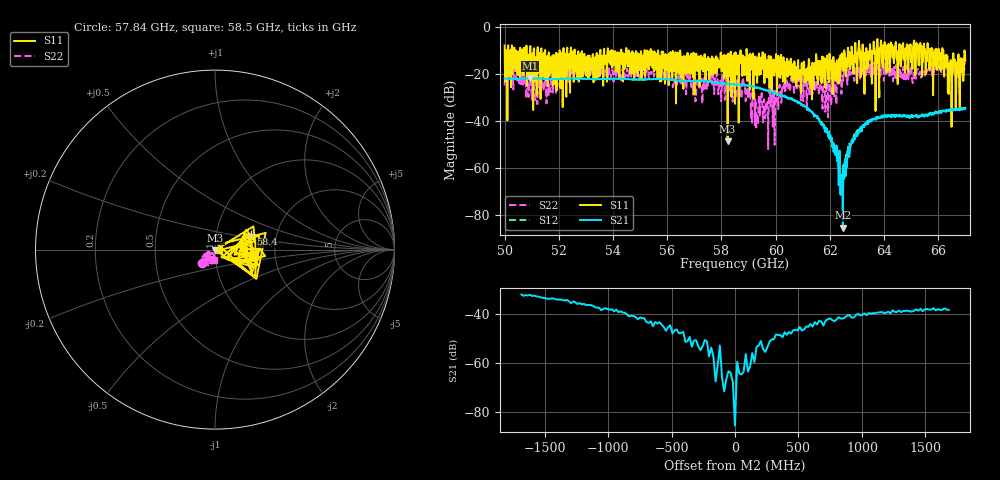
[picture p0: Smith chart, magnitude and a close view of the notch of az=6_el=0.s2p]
!Created with skrf (http://scikit-rf.org).
# GHz S RI R 50.0
!freq ReS11 ImS11 ReS21 ImS21 ReS12 ImS12 ReS22 ImS22
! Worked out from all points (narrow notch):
!   1001 points, 50 GHz to 67 GHz, reference 50 ohm
!   highest |S21| = -21.81 dB at 50.94 GHz (marker M1); lowest = -85.6 dB at 62.48 GHz (marker M2)
!   notch at M2: 61.0 dB deep, 281 MHz wide at half that depth
!   lowest |S11| = -48.9 dB at 58.23 GHz (marker M3), VSWR 1.01, Z = 50.1 - j0.344 ohm
!   |S11| at or under -10 dB: 52.58 GHz to 53.53 GHz (949.7 MHz wide, 1.79 % of centre); 55.39 GHz to 58.92 GHz (3.533 GHz wide, 6.18 % of centre); 58.93 GHz to 62.66 GHz (3.734 GHz wide, 6.14 % of centre)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
!   |S22| runs from -52.1 to -13.2 dB; largest |S21 - S12| = 0.002
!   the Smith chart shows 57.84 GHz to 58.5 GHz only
!   S11 on the Smith chart (normalised r, x): 57.84 GHz: 1.54, -0.14; 58.4 GHz: 1.47, +0.26; 58.5 GHz: 1.05, -0.01
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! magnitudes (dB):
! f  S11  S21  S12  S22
! 50 GHz  -8.0  -21.9  -22.0  -25.1
! 50.15 GHz  -21.2  -22.2  -22.2  -20.7
! 50.94 GHz  -8.6  -21.8  -21.8  -24.5
! 52.84 GHz  -12.1  -22.1  -22.1  -20.2
! 55.68 GHz  -13.1  -22.3  -22.2  -21.8
! 56.99 GHz  -12.6  -23.1  -23.0  -20.9
! 57.84 GHz  -13.1  -24.0  -23.9  -19.6
! 58.23 GHz  -48.9  -24.2  -24.4  -23.4
! 58.4 GHz  -13.3  -24.5  -24.5  -26.1
! 58.5 GHz  -32.8  -24.7  -24.5  -24.8
! 59.11 GHz  -13.1  -25.3  -25.3  -35.5
! 59.32 GHz  -23.9  -26.0  -26.0  -36.8
! 60.64 GHz  -15.8  -31.0  -31.1  -22.3
! 61.34 GHz  -31.0  -36.2  -36.4  -27.0
! 61.98 GHz  -11.5  -47.8  -46.4  -21.7
! 62.48 GHz  -18.8  -85.6  -66.4  -20.9
! 62.73 GHz  -16.9  -53.5  -50.1  -20.5
! 63.07 GHz  -6.0  -44.0  -43.7  -17.0
! 64.18 GHz  -11.8  -37.6  -37.8  -17.1
! 66.1 GHz  -14.0  -36.1  -36.0  -18.3
! 66.44 GHz  -19.7  -35.7  -35.3  -16.2
! 67 GHz  -14.4  -34.6  -34.9  -14.4
